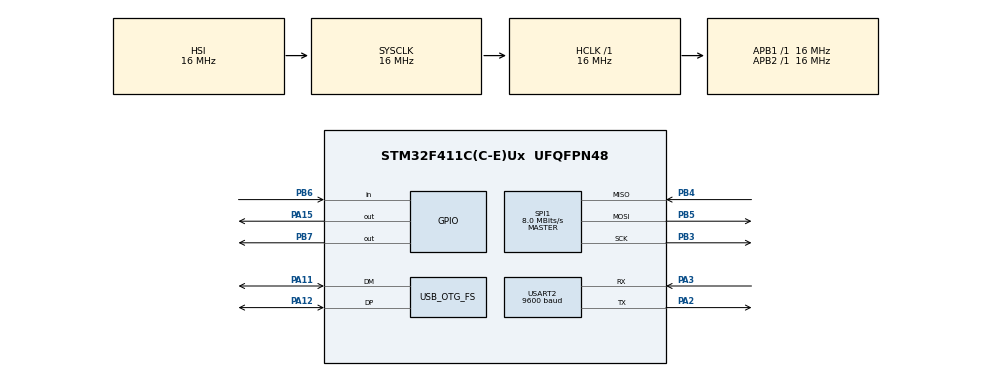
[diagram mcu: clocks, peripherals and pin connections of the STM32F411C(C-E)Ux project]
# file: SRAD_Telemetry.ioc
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Mcu.Family=STM32F4
Mcu.Name=STM32F411C(C-E)Ux
Mcu.Package=UFQFPN48
NVIC.OTG_FS_IRQn=true\:0\:0\:false\:false\:true\:false\:true\:true
NVIC.PriorityGroup=NVIC_PRIORITYGROUP_4
NVIC.USART2_IRQn=true\:0\:0\:false\:false\:true\:true\:true\:true
PA11.Mode=Device_Only
PA11.Signal=USB_OTG_FS_DM
PA12.Mode=Device_Only
PA12.Signal=USB_OTG_FS_DP
PA13.Mode=Serial_Wire
PA13.Signal=SYS_JTMS-SWDIO
PA14.Mode=Serial_Wire
PA14.Signal=SYS_JTCK-SWCLK
PA15.Signal=GPIO_Output
PA2.Mode=Asynchronous
PA2.Signal=USART2_TX
PA3.Mode=Asynchronous
PA3.Signal=USART2_RX
PB3.Mode=Full_Duplex_Master
PB3.Signal=SPI1_SCK
PB4.Mode=Full_Duplex_Master
PB4.Signal=SPI1_MISO
PB5.Mode=Full_Duplex_Master
PB5.Signal=SPI1_MOSI
PB6.Signal=GPIO_Input
PB7.Signal=GPIO_Output
PC14-OSC32_IN.Mode=LSE-External-Oscillator
PC14-OSC32_IN.Signal=RCC_OSC32_IN
PC15-OSC32_OUT.Mode=LSE-External-Oscillator
PC15-OSC32_OUT.Signal=RCC_OSC32_OUT
PH0\ -\ OSC_IN.Mode=HSE-External-Oscillator
PH0\ -\ OSC_IN.Signal=RCC_OSC_IN
PH1\ -\ OSC_OUT.Mode=HSE-External-Oscillator
PH1\ -\ OSC_OUT.Signal=RCC_OSC_OUT
ProjectManager.HeapSize=0x200
ProjectManager.StackSize=0x400
ProjectManager.TargetToolchain=STM32CubeIDE
RCC.48MHZClocksFreq_Value=48000000
RCC.AHBFreq_Value=16000000
RCC.APB1Freq_Value=16000000
RCC.APB2Freq_Value=16000000
RCC.CortexFreq_Value=16000000
RCC.HSE_VALUE=25000000
RCC.HSI_VALUE=16000000
RCC.PLLM=25
RCC.SYSCLKFreq_VALUE=16000000
RCC.VCOOutputFreq_Value=192000000
SPI1.CalculateBaudRate=8.0 MBits/s
SPI1.Direction=SPI_DIRECTION_2LINES
SPI1.Mode=SPI_MODE_MASTER
SPI1.VirtualType=VM_MASTER
USART2.BaudRate=9600
USART2.VirtualMode=VM_ASYNC
USB_DEVICE.CLASS_NAME_FS=CDC
USB_DEVICE.VirtualMode=Cdc
USB_DEVICE.VirtualModeFS=Cdc_FS
USB_OTG_FS.VirtualMode=Device_Only
VP_USB_DEVICE_VS_USB_DEVICE_CDC_FS.Mode=CDC_FS
board=custom

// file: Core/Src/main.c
/* USER CODE BEGIN Header */
/**
  ******************************************************************************
  * @file           : main.c
  * @brief          : Main program body
  ******************************************************************************
  * @attention
  *
  * Copyright (c) 2024 STMicroelectronics.
  * All rights reserved.
  *
  * This software is licensed under terms that can be found in the LICENSE file
  * in the root directory of this software component.
  * If no LICENSE file comes with this software, it is provided AS-IS.
  *
  ******************************************************************************
  */
/* USER CODE END Header */
#include "main.h"
#include "usb_device.h"

/* USER CODE BEGIN Includes */
#include "lr_fhss_mac.h"
#include "lr_fhss_v1_base_types.h"
#include "lr_fhss_mac.h"
#include "sx126x_driver_version.h"
#include "sx126x_hal.h"
#include "sx126x_lr_fhss.h"
#include "sx126x_regs.h"
#include "sx126x.h"
/* USER CODE END Includes */

/* USER CODE BEGIN PM */
// Define SPI settings
#define SPI_TIMEOUT 1000
#define TX_POWER 14
#define FREQUENCY 868000000
/* USER CODE END PM */

SPI_HandleTypeDef hspi1; //global
UART_HandleTypeDef huart2;

void SystemClock_Config(void);
static void MX_GPIO_Init(void);
static void MX_USART2_UART_Init(void);
static void MX_SPI1_Init(void);

/* USER CODE BEGIN 0 */
extern uint8_t CDC_Transmit_FS(uint8_t* Buf, uint16_t Len);
uint8_t rx_buff[80];
/* USER CODE END 0 */

int main(void)
{

  /* MCU Configuration--------------------------------------------------------*/

  /* Reset of all peripherals, Initializes the Flash interface and the Systick. */
  HAL_Init();

  /* Configure the system clock */
  SystemClock_Config();

  /* Initialize all configured peripherals */
  MX_GPIO_Init();
  HAL_GPIO_WritePin(GPIOA, RESET_PIN, GPIO_PIN_SET); // reset pin is active low
  MX_USB_DEVICE_Init();
  MX_USART2_UART_Init();
  MX_SPI1_Init();
  /* USER CODE BEGIN 2 */
  HAL_UART_Receive_IT(&huart2, rx_buff, 80);
  /* USER CODE END 2 */

  /* Infinite loop */
  while (1)
  {

  }

}

void SystemClock_Config(void)
{
  RCC_OscInitTypeDef RCC_OscInitStruct = {0};
  RCC_ClkInitTypeDef RCC_ClkInitStruct = {0};

  /** Configure the main internal regulator output voltage
  */
  __HAL_RCC_PWR_CLK_ENABLE();
  __HAL_PWR_VOLTAGESCALING_CONFIG(PWR_REGULATOR_VOLTAGE_SCALE1);

  /** Initializes the RCC Oscillators according to the specified parameters
  * in the RCC_OscInitTypeDef structure.
  */
  RCC_OscInitStruct.OscillatorType = RCC_OSCILLATORTYPE_HSI|RCC_OSCILLATORTYPE_HSE;
  RCC_OscInitStruct.HSEState = RCC_HSE_ON;
  RCC_OscInitStruct.HSIState = RCC_HSI_ON;
  RCC_OscInitStruct.HSICalibrationValue = RCC_HSICALIBRATION_DEFAULT;
  RCC_OscInitStruct.PLL.PLLState = RCC_PLL_ON;
  RCC_OscInitStruct.PLL.PLLSource = RCC_PLLSOURCE_HSE;
  RCC_OscInitStruct.PLL.PLLM = 25;
  RCC_OscInitStruct.PLL.PLLN = 192;
  RCC_OscInitStruct.PLL.PLLP = RCC_PLLP_DIV2;
  RCC_OscInitStruct.PLL.PLLQ = 4;
  if (HAL_RCC_OscConfig(&RCC_OscInitStruct) != HAL_OK)
  {
    Error_Handler();
  }

  /** Initializes the CPU, AHB and APB buses clocks
  */
  RCC_ClkInitStruct.ClockType = RCC_CLOCKTYPE_HCLK|RCC_CLOCKTYPE_SYSCLK
                              |RCC_CLOCKTYPE_PCLK1|RCC_CLOCKTYPE_PCLK2;
  RCC_ClkInitStruct.SYSCLKSource = RCC_SYSCLKSOURCE_HSI;
  RCC_ClkInitStruct.AHBCLKDivider = RCC_SYSCLK_DIV1;
  RCC_ClkInitStruct.APB1CLKDivider = RCC_HCLK_DIV1;
  RCC_ClkInitStruct.APB2CLKDivider = RCC_HCLK_DIV1;

  if (HAL_RCC_ClockConfig(&RCC_ClkInitStruct, FLASH_LATENCY_0) != HAL_OK)
  {
    Error_Handler();
  }
}

static void MX_SPI1_Init(void)
{

  /* SPI1 parameter configuration*/
  hspi1.Instance = SPI1;
  hspi1.Init.Mode = SPI_MODE_MASTER;
  hspi1.Init.Direction = SPI_DIRECTION_2LINES;
  hspi1.Init.DataSize = SPI_DATASIZE_8BIT;
  hspi1.Init.CLKPolarity = SPI_POLARITY_LOW;
  hspi1.Init.CLKPhase = SPI_PHASE_1EDGE;
  hspi1.Init.NSS = SPI_NSS_SOFT;
  hspi1.Init.BaudRatePrescaler = SPI_BAUDRATEPRESCALER_2;
  hspi1.Init.FirstBit = SPI_FIRSTBIT_MSB;
  hspi1.Init.TIMode = SPI_TIMODE_DISABLE;
  hspi1.Init.CRCCalculation = SPI_CRCCALCULATION_DISABLE;
  hspi1.Init.CRCPolynomial = 10;
  if (HAL_SPI_Init(&hspi1) != HAL_OK)
  {
    Error_Handler();
  }

}

static void MX_USART2_UART_Init(void)
{

  huart2.Instance = USART2;
  huart2.Init.BaudRate = 9600;
  huart2.Init.WordLength = UART_WORDLENGTH_8B;
  huart2.Init.StopBits = UART_STOPBITS_1;
  huart2.Init.Parity = UART_PARITY_NONE;
  huart2.Init.Mode = UART_MODE_TX_RX;
  huart2.Init.HwFlowCtl = UART_HWCONTROL_NONE;
  huart2.Init.OverSampling = UART_OVERSAMPLING_16;
  if (HAL_UART_Init(&huart2) != HAL_OK)
  {
    Error_Handler();
  }

}

static void MX_GPIO_Init(void)
{
  GPIO_InitTypeDef GPIO_InitStruct = {0};

  /* GPIO Ports Clock Enable */
  __HAL_RCC_GPIOC_CLK_ENABLE();
  __HAL_RCC_GPIOH_CLK_ENABLE();
  __HAL_RCC_GPIOA_CLK_ENABLE();
  __HAL_RCC_GPIOB_CLK_ENABLE();

  /*Configure GPIO pin Output Level */
  HAL_GPIO_WritePin(GPIOA, GPIO_PIN_15, GPIO_PIN_RESET);

  /*Configure GPIO pin Output Level */
  HAL_GPIO_WritePin(GPIOB, GPIO_PIN_7, GPIO_PIN_RESET);

  /*Configure GPIO pin : PA15 */
  GPIO_InitStruct.Pin = GPIO_PIN_15;
  GPIO_InitStruct.Mode = GPIO_MODE_OUTPUT_PP;
  GPIO_InitStruct.Pull = GPIO_NOPULL;
  GPIO_InitStruct.Speed = GPIO_SPEED_FREQ_LOW;
  HAL_GPIO_Init(GPIOA, &GPIO_InitStruct);

  /*Configure GPIO pin : PB6 */
  GPIO_InitStruct.Pin = GPIO_PIN_6;
  GPIO_InitStruct.Mode = GPIO_MODE_INPUT;
  GPIO_InitStruct.Pull = GPIO_NOPULL;
  HAL_GPIO_Init(GPIOB, &GPIO_InitStruct);

  /*Configure GPIO pin : PB7 */
  GPIO_InitStruct.Pin = GPIO_PIN_7;
  GPIO_InitStruct.Mode = GPIO_MODE_OUTPUT_PP;
  GPIO_InitStruct.Pull = GPIO_NOPULL;
  GPIO_InitStruct.Speed = GPIO_SPEED_FREQ_LOW;
  HAL_GPIO_Init(GPIOB, &GPIO_InitStruct);

}

/* USER CODE BEGIN 4 */
void HAL_UART_RxCpltCallback(UART_HandleTypeDef *huart)
{
	 // Re-enable UART Receive interrupt for the next data
	  HAL_UART_Receive_IT(&huart2, rx_buff, sizeof(rx_buff)); // 10 bytes or your buffer size

	  // Transmit the received data over CDC (USB)
	  CDC_Transmit_FS(rx_buff, sizeof(rx_buff)); // Transmit size of data received

	  // Transmit the received data over SPI (blocking transmission)
	  HAL_GPIO_WritePin(GPIOA, GPIO_PIN_15, GPIO_PIN_RESET);
	  HAL_SPI_Transmit(&hspi1, rx_buff, sizeof(rx_buff), 1); // Set an appropriate timeout value (ms)
	  HAL_GPIO_WritePin(GPIOA, GPIO_PIN_15, GPIO_PIN_SET);
}
/* USER CODE END 4 */

void Error_Handler(void)
{
  __disable_irq();
  while (1)
  {
  }
}
